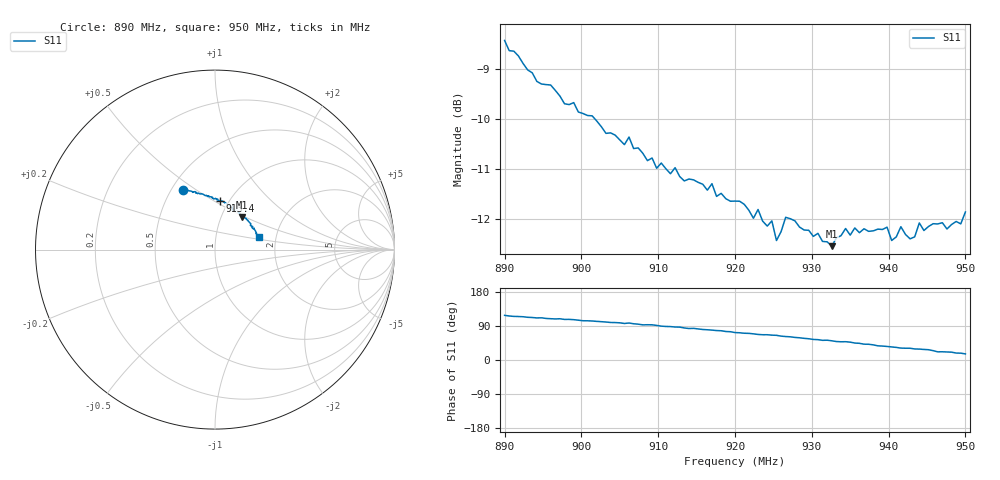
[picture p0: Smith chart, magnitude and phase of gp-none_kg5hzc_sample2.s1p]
# HZ S RI R 50
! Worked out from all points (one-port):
!   101 points, 890 MHz to 950 MHz, reference 50 ohm
!   lowest |S11| = -12.6 dB at 932.6 MHz (marker M1), VSWR 1.62, Z = 62.4 + j24.1 ohm
!   |S11| at or under -10 dB: 901.7 MHz to end of sweep
!   S11 on the Smith chart (normalised r, x): 890 MHz: 0.57, +0.45; 913.4 MHz: 0.90, +0.53; 950 MHz: 1.63, +0.25
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8.9e8  -0.1772 0.3347
8.942e8  -0.1237 0.3216
8.978e8  -0.0961 0.3129
9.05e8  -0.0426 0.2981
9.056e8  -0.0332 0.296
9.062e8  -0.0403 0.3004
9.08e8  -0.0139 0.2916
9.092e8  -0.0142 0.2885
9.128e8  0.0156 0.2763
9.134e8  0.0261 0.2727
9.17e8  0.0526 0.2671
9.176e8  0.0562 0.2583
9.2e8  0.0791 0.2492
9.248e8  0.1034 0.2275
9.254e8  0.1005 0.2166
9.266e8  0.1186 0.2223
9.278e8  0.1266 0.2155
9.326e8  0.1493 0.1824
9.344e8  0.1634 0.1833
9.35e8  0.1644 0.1773
9.398e8  0.1999 0.1438
9.404e8  0.1969 0.1351
9.416e8  0.2104 0.1284
9.428e8  0.2055 0.1234
9.44e8  0.2179 0.1197
9.464e8  0.2308 0.0911
9.476e8  0.2287 0.0886
9.5e8  0.245 0.0707
